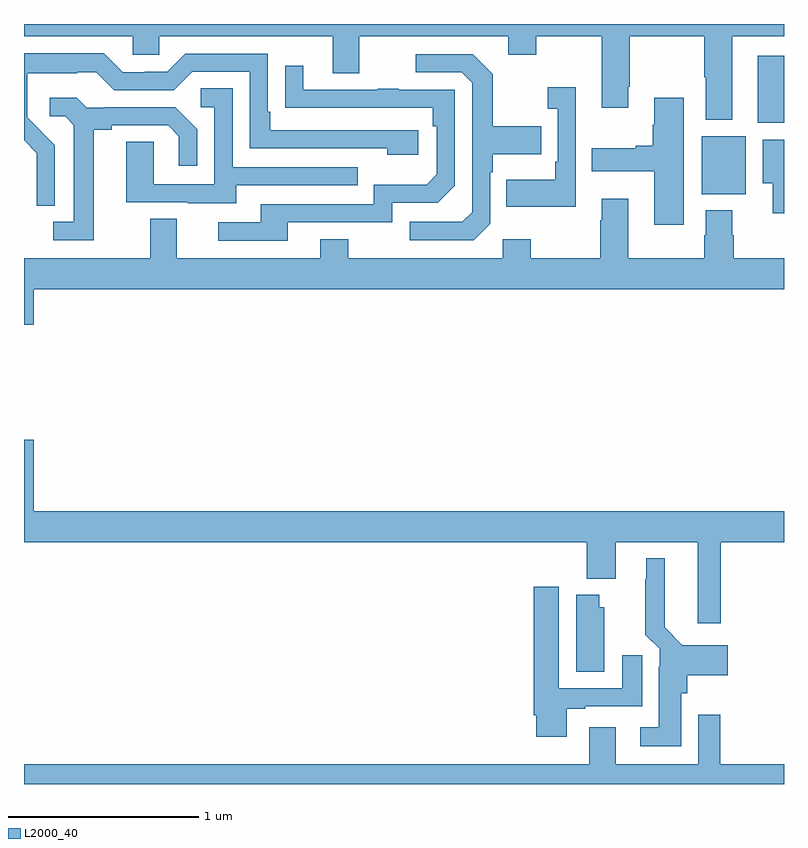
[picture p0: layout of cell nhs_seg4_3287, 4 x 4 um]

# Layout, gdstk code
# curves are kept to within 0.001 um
import gdstk
lib = gdstk.Library(unit=1e-6, precision=1e-09)
def R(c, l, rs):  # rectangles x0, y0, x1, y1
    for r in rs: c.add(gdstk.rectangle(r[:2], r[2:], *l))
def P(c, l, *ps):  # polygons
    for p in ps: c.add(gdstk.Polygon(p, *l))
L2000_40 = (2000, 40)

nhs_seg4_3287 = lib.new_cell('nhs_seg4_3287')
R(nhs_seg4_3287, L2000_40, [(288.566,780.005,288.799,780.31), (288.863,780.38,289,780.733)])
P(nhs_seg4_3287, L2000_40, [(288.727,780.836),(289,780.836),(289,780.9),(285,780.9),(285,780.836),(285.573,780.836),(285.573,780.738),(285.711,780.738),(285.711,780.836),(286.625,780.836),(286.625,780.642),(286.765,780.642),(286.765,780.836),(287.549,780.836),(287.549,780.737),(287.697,780.737),(287.697,780.836),(288.041,780.836),(288.041,780.459),(288.181,780.459),(288.181,780.571),(288.189,780.571),(288.189,780.836),(288.58,780.836),(288.58,780.621),(288.587,780.621),(288.587,780.395),(288.727,780.395)],
  [(285.162,780.262),(285.016,780.41),(285.016,780.507),(285.018,780.507),(285.018,780.641),(285.281,780.641),(285.281,780.645),(285.381,780.645),(285.474,780.552),(285.789,780.552),(285.885,780.648),(286.188,780.648),(286.188,780.246),(286.913,780.246),(286.913,780.212),(287.074,780.212),(287.074,780.342),(286.297,780.342),(286.297,780.439),(286.284,780.439),(286.284,780.744),(285.849,780.744),(285.753,780.648),(285.635,780.648),(285.635,780.645),(285.519,780.645),(285.419,780.745),(285,780.745),(285,780.288),(285.068,780.221),(285.068,780.098),(285.066,780.098),(285.066,779.944),(285.162,779.944)],
  [(287.454,779.85),(287.454,780.119),(287.467,780.119),(287.467,780.215),(287.723,780.215),(287.723,780.363),(287.467,780.363),(287.467,780.635),(287.361,780.741),(287.061,780.741),(287.061,780.645),(287.304,780.645),(287.358,780.591),(287.358,779.91),(287.307,779.859),(287.031,779.859),(287.031,779.763),(287.367,779.763)],
  [(286.387,779.856),(286.938,779.856),(286.938,779.958),(287.178,779.958),(287.268,780.048),(287.268,780.555),(286.973,780.555),(286.973,780.56),(286.861,780.56),(286.861,780.555),(286.471,780.555),(286.471,780.679),(286.375,780.679),(286.375,780.46),(287.152,780.459),(287.152,780.362),(287.172,780.362),(287.172,780.108),(287.119,780.055),(286.842,780.055),(286.842,779.952),(286.247,779.952),(286.247,779.856),(286.023,779.856),(286.023,779.76),(286.387,779.76)],
  [(287.904,780.343),(287.905,780.343),(287.905,780.568),(287.757,780.568),(287.757,780.455),(287.808,780.455),(287.808,780.175),(287.796,780.175),(287.796,780.079),(287.539,780.079),(287.539,779.939),(287.904,779.939)],
  [(286.117,780.051),(286.757,780.051),(286.757,780.147),(286.098,780.147),(286.098,780.563),(285.93,780.563),(285.93,780.462),(286.002,780.462),(286.002,780.057),(285.684,780.057),(285.684,780.281),(285.539,780.281),(285.539,779.961),(285.863,779.961),(285.863,779.957),(286.117,779.957)],
  [(288.472,780.511),(288.317,780.511),(288.317,780.371),(288.31,780.371),(288.31,780.26),(288.221,780.26),(288.221,780.247),(287.989,780.247),(287.989,780.125),(288.317,780.125),(288.317,779.844),(288.472,779.844)],
  [(285.367,780.344),(285.463,780.344),(285.463,780.366),(285.758,780.366),(285.815,780.309),(285.815,780.153),(285.912,780.153),(285.912,780.346),(285.796,780.462),(285.424,780.462),(285.424,780.459),(285.33,780.459),(285.278,780.511),(285.135,780.511),(285.135,780.414),(285.216,780.414),(285.263,780.367),(285.263,779.859),(285.153,779.859),(285.153,779.763),(285.367,779.763)],
  [(289,780.292),(288.887,780.292),(288.887,780.062),(288.941,780.062),(288.941,779.904),(289,779.904)],
  [(285.052,779.504),(289,779.504),(289,779.668),(288.735,779.668),(288.735,779.789),(288.727,779.789),(288.727,779.92),(288.587,779.92),(288.587,779.789),(288.58,779.789),(288.58,779.668),(288.181,779.668),(288.181,779.98),(288.041,779.98),(288.041,779.867),(288.034,779.867),(288.034,779.668),(287.667,779.668),(287.667,779.767),(287.52,779.767),(287.52,779.668),(286.707,779.668),(286.707,779.767),(286.559,779.767),(286.559,779.668),(285.805,779.668),(285.805,779.876),(285.665,779.876),(285.665,779.668),(285,779.668),(285,779.316),(285.052,779.316)],
  [(288.668,778.172),(289,778.172),(289,778.336),(285.052,778.336),(285.052,778.711),(285,778.711),(285,778.172),(287.963,778.172),(287.963,777.98),(288.115,777.98),(288.115,778.172),(288.545,778.172),(288.545,777.747),(288.668,777.747)],
  [(288.46,777.378),(288.491,777.378),(288.491,777.473),(288.703,777.473),(288.703,777.631),(288.465,777.631),(288.373,777.724),(288.373,778.087),(288.275,778.087),(288.275,777.977),(288.271,777.977),(288.271,777.686),(288.345,777.612),(288.345,777.518),(288.341,777.518),(288.341,777.199),(288.243,777.199),(288.243,777.098),(288.46,777.098)],
  [(287.857,777.297),(287.953,777.297),(287.953,777.309),(288.253,777.309),(288.253,777.577),(288.149,777.577),(288.149,777.405),(287.815,777.405),(287.815,777.937),(287.684,777.937),(287.684,777.262),(287.696,777.262),(287.696,777.15),(287.857,777.15)],
  [(288.055,777.831),(288.028,777.831),(288.028,777.895),(287.906,777.895),(287.906,777.49),(288.055,777.49)],
  [(289,777.004),(288.665,777.004),(288.665,777.265),(288.549,777.265),(288.549,777.004),(288.115,777.004),(288.115,777.199),(287.975,777.199),(287.975,777.004),(285,777.004),(285,776.9),(289,776.9)])

lib.write_gds('nhs_seg4_3287.gds')
